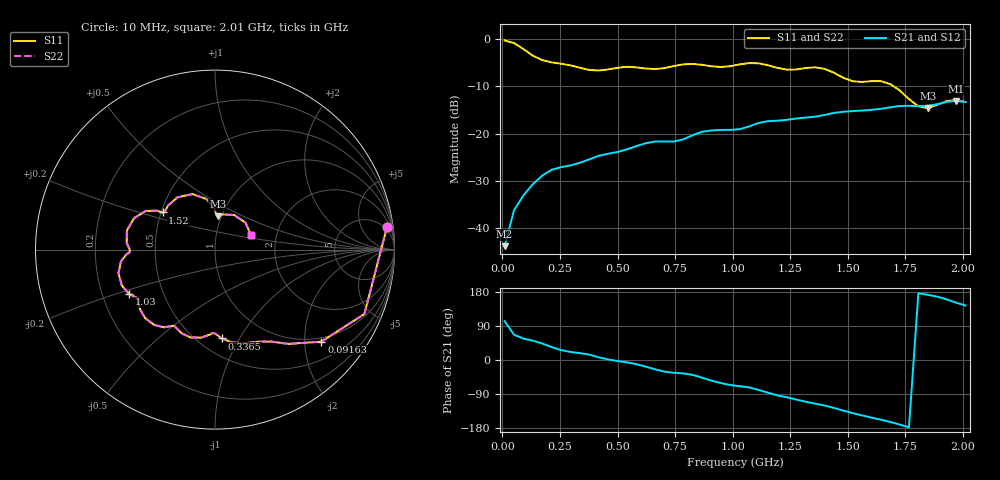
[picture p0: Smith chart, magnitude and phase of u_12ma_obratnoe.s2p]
# MHz S MA R 50
!  freq  S11  S21  S12  S22
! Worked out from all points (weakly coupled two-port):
!   50 points, 10 MHz to 2.01 GHz, reference 50 ohm
!   highest |S21| = -13.09 dB at 1.969 GHz (marker M1); lowest = -43.8 dB at 10 MHz (marker M2)
!   lowest |S11| = -14.6 dB at 1.847 GHz (marker M3), VSWR 1.46, Z = 48.1 + j18.4 ohm
!   |S11| at or under -10 dB: 1.698 GHz to end of sweep
!   |S22| runs from -14.6 to -0.3 dB; largest |S21 - S12| = 0.00053
!   S11 on the Smith chart (normalised r, x): 10 MHz: 4, +14; 91.63 MHz: 0.90, -2.39; 336.5 MHz: 0.64, -0.85; 1.03 GHz: 0.32, -0.22; 1.52 GHz: 0.51, +0.24; 2.01 GHz: 1.47, +0.25
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10  0.9657 7.4  0.00643 102.5  0.00644 102.4  0.9652 7.4
50.81633  0.9065 -23.3  0.01543 66.7  0.01545 66.8  0.9065 -23.4
91.63265  0.7836 -40.9  0.02219 56.5  0.02213 56.5  0.784 -40.9
132.449  0.6665 -52.0  0.02912 51.1  0.02909 51.1  0.6665 -52.0
214.0816  0.5662 -65.1  0.04139 34.1  0.04138 34.1  0.5655 -65.1
336.5306  0.4966 -85.6  0.04899 18.1  0.04896 18.1  0.4966 -85.6
377.3469  0.471 -89.3  0.05331 14.3  0.05337 14.3  0.4712 -89.3
540.6122  0.5084 -105.4  0.06807 -6.3  0.06809 -6.2  0.5077 -105.5
703.8776  0.4924 -119.9  0.08226 -30.8  0.0823 -30.8  0.4919 -120.0
826.3265  0.545 -135.7  0.0961 -39.3  0.09618 -39.2  0.5453 -135.6
1030.408  0.5391 -152.7  0.1112 -69.2  0.1112 -69.2  0.5385 -152.8
1112.041  0.5535 -166.4  0.1294 -78.8  0.1295 -78.8  0.5534 -166.3
1234.49  0.4747 -178.4  0.1396 -98.3  0.1396 -98.3  0.4747 -178.3
1356.939  0.502 167.9  0.1507 -115.1  0.1508 -115.1  0.5019 167.9
1438.571  0.4412 150.8  0.165 -126.3  0.1648 -126.4  0.4412 150.7
1520.204  0.3577 144.7  0.1727 -140.2  0.1727 -140.2  0.3579 144.7
1601.837  0.3584 136.8  0.178 -152.0  0.1783 -151.9  0.3587 136.8
1683.469  0.334 112.2  0.1893 -163.4  0.1893 -163.3  0.334 112.2
1765.102  0.2316 91.3  0.1968 -177.7  0.197 -177.7  0.2316 91.3
1846.735  0.1855 85.1  0.1967 171.8  0.1966 171.8  0.1853 85.2
1969.184  0.2266 41.4  0.2216 151.3  0.2215 151.3  0.2265 41.4
2010  0.2159 22.5  0.2157 143.8  0.2157 143.7  0.2159 22.4
